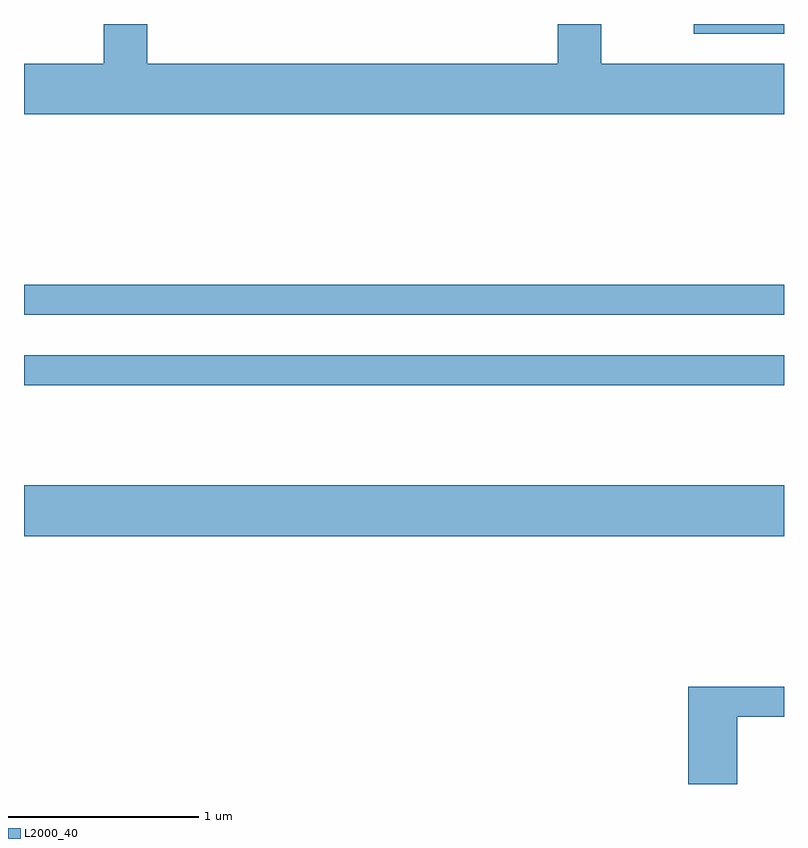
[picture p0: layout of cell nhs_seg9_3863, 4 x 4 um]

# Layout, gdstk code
import gdstk
lib = gdstk.Library(unit=1e-6, precision=1e-09)
def R(c, l, rs):  # rectangles x0, y0, x1, y1
    for r in rs: c.add(gdstk.rectangle(r[:2], r[2:], *l))
def P(c, l, *ps):  # polygons
    for p in ps: c.add(gdstk.Polygon(p, *l))
L2000_40 = (2000, 40)

nhs_seg9_3863 = lib.new_cell('nhs_seg9_3863')
R(nhs_seg9_3863, L2000_40, [(297.611,2071.736,301.611,2072.004), (297.611,2072.531,301.611,2072.689), (297.611,2072.901,301.611,2073.059), (301.136,2074.381,301.611,2074.432)])
P(nhs_seg9_3863, L2000_40, [(301.611,2074.224),(300.649,2074.224),(300.649,2074.432),(300.421,2074.432),(300.421,2074.224),(298.259,2074.224),(298.259,2074.432),(298.031,2074.432),(298.031,2074.224),(297.611,2074.224),(297.611,2073.956),(301.611,2073.956)],
  [(301.364,2070.786),(301.611,2070.786),(301.611,2070.944),(301.106,2070.944),(301.106,2070.432),(301.364,2070.432)])

lib.write_gds('nhs_seg9_3863.gds')
